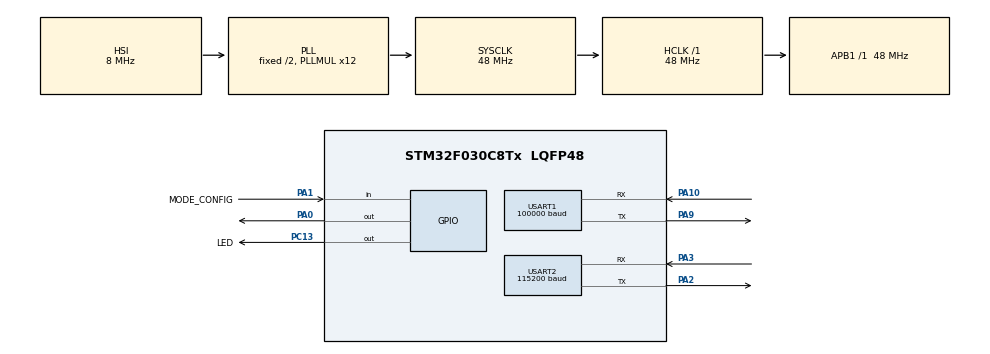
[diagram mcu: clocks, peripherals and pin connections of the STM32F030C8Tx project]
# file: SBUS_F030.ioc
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Dma.Request0=USART1_RX
Dma.Request1=USART1_TX
Dma.USART1_RX.0.Direction=DMA_PERIPH_TO_MEMORY
Dma.USART1_RX.0.Instance=DMA1_Channel5
Dma.USART1_RX.0.MemDataAlignment=DMA_MDATAALIGN_BYTE
Dma.USART1_RX.0.MemInc=DMA_MINC_ENABLE
Dma.USART1_RX.0.Mode=DMA_CIRCULAR
Dma.USART1_RX.0.PeriphDataAlignment=DMA_PDATAALIGN_BYTE
Dma.USART1_RX.0.PeriphInc=DMA_PINC_DISABLE
Dma.USART1_RX.0.Priority=DMA_PRIORITY_MEDIUM
Dma.USART1_TX.1.Direction=DMA_MEMORY_TO_PERIPH
Dma.USART1_TX.1.Instance=DMA1_Channel4
Dma.USART1_TX.1.MemDataAlignment=DMA_MDATAALIGN_BYTE
Dma.USART1_TX.1.MemInc=DMA_MINC_ENABLE
Dma.USART1_TX.1.Mode=DMA_NORMAL
Dma.USART1_TX.1.PeriphDataAlignment=DMA_PDATAALIGN_BYTE
Dma.USART1_TX.1.PeriphInc=DMA_PINC_DISABLE
Dma.USART1_TX.1.Priority=DMA_PRIORITY_MEDIUM
Mcu.Family=STM32F0
Mcu.Name=STM32F030C8Tx
Mcu.Package=LQFP48
NVIC.DMA1_Channel4_5_IRQn=true\:0\:0\:false\:false\:true\:false\:true
NVIC.TIM3_IRQn=true\:1\:0\:true\:false\:true\:true\:true
NVIC.USART1_IRQn=true\:0\:0\:false\:false\:true\:true\:true
NVIC.USART2_IRQn=true\:2\:0\:true\:false\:true\:true\:true
PA0.PinState=GPIO_PIN_SET
PA0.Signal=GPIO_Output
PA1.GPIO_Label=MODE_CONFIG
PA1.GPIO_PuPd=GPIO_PULLDOWN
PA1.Signal=GPIO_Input
PA10.Mode=Asynchronous
PA10.Signal=USART1_RX
PA13.Mode=Serial_Wire
PA13.Signal=SYS_SWDIO
PA14.Mode=Serial_Wire
PA14.Signal=SYS_SWCLK
PA2.Mode=Asynchronous
PA2.Signal=USART2_TX
PA3.Mode=Asynchronous
PA3.Signal=USART2_RX
PA9.Mode=Asynchronous
PA9.Signal=USART1_TX
PC13.GPIO_Label=LED
PC13.Signal=GPIO_Output
PC14-OSC32_IN.Mode=LSE-External-Oscillator
PC14-OSC32_IN.Signal=RCC_OSC32_IN
PC15-OSC32_OUT.Mode=LSE-External-Oscillator
PC15-OSC32_OUT.Signal=RCC_OSC32_OUT
PF0-OSC_IN.Mode=HSE-External-Oscillator
PF0-OSC_IN.Signal=RCC_OSC_IN
PF1-OSC_OUT.Mode=HSE-External-Oscillator
PF1-OSC_OUT.Signal=RCC_OSC_OUT
ProjectManager.HeapSize=0x200
ProjectManager.StackSize=0x400
ProjectManager.TargetToolchain=MDK-ARM V5
RCC.AHBFreq_Value=48000000
RCC.APB1Freq_Value=48000000
RCC.APB1TimFreq_Value=48000000
RCC.HCLKFreq_Value=48000000
RCC.PLLMUL=RCC_PLL_MUL12
RCC.SYSCLKFreq_VALUE=48000000
RCC.SYSCLKSource=RCC_SYSCLKSOURCE_PLLCLK
TIM3.AutoReloadPreload=TIM_AUTORELOAD_PRELOAD_ENABLE
TIM3.Period=40-1
TIM3.Prescaler=24000-1
USART1.BaudRate=100000
USART1.Parity=PARITY_EVEN
USART1.RxPinLevelInvertParam=ADVFEATURE_RXINV_ENABLE
USART1.StopBits=STOPBITS_2
USART1.TxPinLevelInvertParam=ADVFEATURE_TXINV_ENABLE
USART1.VirtualMode-Asynchronous=VM_ASYNC
USART1.WordLength=WORDLENGTH_9B
USART2.BaudRate=115200
USART2.VirtualMode-Asynchronous=VM_ASYNC
VP_TIM3_VS_ClockSourceINT.Mode=Internal
board=custom

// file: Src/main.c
/* USER CODE BEGIN Header */
/**
  ******************************************************************************
  * @file           : main.c
  * @brief          : Main program body
  ******************************************************************************
  * @attention
  *
  * <h2><center>&copy; Copyright (c) 2022 STMicroelectronics.
  * All rights reserved.</center></h2>
  *
  * This software component is licensed by ST under BSD 3-Clause license,
  * the "License"; You may not use this file except in compliance with the
  * License. You may obtain a copy of the License at:
  *                        opensource.org/licenses/BSD-3-Clause
  *
  ******************************************************************************
  */
/* USER CODE END Header */

#include "main.h"
#include "dma.h"
#include "tim.h"
#include "usart.h"
#include "gpio.h"

/* USER CODE BEGIN Includes */
#include <string.h>
/* USER CODE END Includes */

/* USER CODE BEGIN PTD */
#define START_CHAR (0xDF)
/* USER CODE END PTD */

/* USER CODE BEGIN PV */
uint8_t timer3_timeout = 0;

//0:0xdf  1:CH1_H 2:CH1_L 3:CH2_H 4:CH2_L 5:CH3_H 6:CH3_L
//7:CH4_H 8:CH4_L 9:CH5_H 10:CH5_L 11:CH6_H 12:CH6_L
uint8_t uart2_recv_buff[UART2_RECV_BUFF_LEN];

uint8_t dataH[16],dataL[16];

//UART1 透传变量
extern volatile uint8_t uart1_loopback_rx_len;  //接收一帧数据的长度
extern volatile uint8_t uart1_loopback_recv_end_flag; //一帧数据接收完成标志
uint8_t uart1_loopback_buff[UART1_BUFF_LOOPBACK_LEN];
/* USER CODE END PV */

void SystemClock_Config(void);
/* USER CODE BEGIN PFP */
void SBUS_SendPkg(uint8_t *dataH, uint8_t* dataL);
void UART1_Snd_Uint8(uint8_t data);
/* USER CODE END PFP */

/* USER CODE BEGIN 0 */

void UART1_Snd_Uint8(uint8_t data)
{
	HAL_UART_Transmit(&huart1,&data,1,1000);
	while(__HAL_UART_GET_FLAG(&huart1,UART_FLAG_TC)!=SET);
}

void SBUS_SendPkg(uint8_t *dataH, uint8_t* dataL)
{
	int i,j=0;
	uint8_t snd;
	uint16_t cur_channel;
	int channel_counter = 0;

	UART1_Snd_Uint8(0x0F);

	cur_channel = (dataH[channel_counter]<<8) | dataL[channel_counter];
	do {
		snd = 0;
		for (i = 0; i < 8; i++) {
			snd >>= 1;
			snd |= (cur_channel & 0x01) << 7;
			cur_channel >>= 1;
			j++;
			if (j == 11) {
				j = 0;
				channel_counter++;
				cur_channel = (dataH[channel_counter]<<8) | dataL[channel_counter];
			}
		}
		UART1_Snd_Uint8(snd);

	} while (channel_counter<16);

	UART1_Snd_Uint8(0x00);
	UART1_Snd_Uint8(0x00);
}

//Put the start Byte at the start of the pbuf
int FormatFrame(uint8_t *pbuf)
{
	int16_t i,start_at;
	uint8_t swapBuf[UART2_RECV_BUFF_LEN];
	start_at = -1;
	for(i=0;i<UART2_RECV_BUFF_LEN;i++)
	{
		if(pbuf[i]==START_CHAR)
		{
			start_at = i;
			break;
		}
	}
	if(start_at == -1)
	{
		return -1;	//Not Found
	}
	for(i=0;i<start_at;i++)
	{
		swapBuf[UART2_RECV_BUFF_LEN-start_at+i]=pbuf[i];
	}
	for(i=start_at;i<UART2_RECV_BUFF_LEN;i++)
	{
		pbuf[i-start_at]=pbuf[i];
	}
	for(i=UART2_RECV_BUFF_LEN-start_at;i<UART2_RECV_BUFF_LEN;i++)
	{
		pbuf[i]=swapBuf[i];
	}
	return 0;
}
/* USER CODE END 0 */

int main(void)
{
  /* USER CODE BEGIN 1 */
	//char uart2_snd_buff[30];
	uint8_t uart2_recv_buff_mirror[UART2_RECV_BUFF_LEN];
	//uint8_t uart2_err_cnt=0;
	uint16_t i;
	uint8_t checksum=0;
  /* USER CODE END 1 */

  /* MCU Configuration--------------------------------------------------------*/

  /* Reset of all peripherals, Initializes the Flash interface and the Systick. */
  HAL_Init();

  /* Configure the system clock */
  SystemClock_Config();

  /* Initialize all configured peripherals */
  MX_GPIO_Init();
  MX_DMA_Init();
  MX_TIM3_Init();
  MX_USART1_UART_Init();
  MX_USART2_UART_Init();
  /* USER CODE BEGIN 2 */

	//配置为SBUS透传模式
	if(GPIO_PIN_SET==HAL_GPIO_ReadPin(MODE_CONFIG_GPIO_Port,MODE_CONFIG_Pin))
	{
		__HAL_UART_ENABLE_IT(&huart1, UART_IT_IDLE); //使能IDLE中断
		//DMA接收函数，此句一定要加，不加接收不到第一次传进来的实数据，是空的，且此时接收到的数据长度为缓存器的数据长度
		HAL_UART_Receive_DMA(&huart1,uart1_loopback_buff,UART1_BUFF_LOOPBACK_LEN);

		while(1)
		{
			HAL_GPIO_TogglePin(LED_GPIO_Port,LED_Pin);
			if(uart1_loopback_recv_end_flag == 1)
			{
				HAL_UART_Transmit_DMA(&huart1, uart1_loopback_buff, uart1_loopback_rx_len);
				uart1_loopback_rx_len = 0;
				uart1_loopback_recv_end_flag = 0;
				memset(uart1_loopback_buff, 0 ,uart1_loopback_rx_len);
				HAL_UART_Receive_DMA(&huart1, uart1_loopback_buff, UART1_BUFF_LOOPBACK_LEN);
			}
		}
	}

	HAL_TIM_Base_Start_IT(&htim3);
	HAL_UART_Receive_IT(&huart2,(uint8_t*)uart2_recv_buff,UART2_RECV_BUFF_LEN);
  /* USER CODE END 2 */

  /* Infinite loop */
  /* USER CODE BEGIN WHILE */
while (1)
  {
		if(timer3_timeout == 1)
		{
			//HAL_UART_Transmit(&huart2,uart2_snd_buff,sizeof(uart2_snd_buff),1000);
			//while(__HAL_UART_GET_FLAG(&huart2,UART_FLAG_TC)!=SET);
			//memcpy(uart2_recv_buff_mirror,uart2_recv_buff,UART2_RECV_BUFF_LEN);
			for(i=0;i<UART2_RECV_BUFF_LEN;i++)
			{
				uart2_recv_buff_mirror[i]=uart2_recv_buff[i];
			}
			int rtn = FormatFrame(uart2_recv_buff_mirror);
			if(uart2_recv_buff_mirror[0]==0xdf && rtn!=-1)
			{
				//校验和
				checksum=0;
				for(i=0;i<UART2_RECV_BUFF_LEN-1;i++)
				{
					checksum+=uart2_recv_buff_mirror[i];
				}
				if(checksum!=uart2_recv_buff_mirror[UART2_RECV_BUFF_LEN-1])
				{
					//sprintf(uart2_snd_buff,"Uart2 Err Cnt: %d\n",uart2_err_cnt);
					//HAL_UART_Transmit(&huart2,(uint8_t*)uart2_err_cnt,1,1000);
					//continue;
				}

				//0:0xdf  1:CH1_H 2:CH1_L 3:CH2_H 4:CH2_L 5:CH3_H 6:CH3_L
				//7:CH4_H 8:CH4_L 9:CH5_H 10:CH5_L 11:CH6_H 12:CH6_L
				dataH[0] = uart2_recv_buff_mirror[1];
				dataL[0] = uart2_recv_buff_mirror[2];

				dataH[1] = uart2_recv_buff_mirror[3];
				dataL[1] = uart2_recv_buff_mirror[4];

				dataH[2] = uart2_recv_buff_mirror[5];
				dataL[2] = uart2_recv_buff_mirror[6];

				dataH[3] = uart2_recv_buff_mirror[7];
				dataL[3] = uart2_recv_buff_mirror[8];

				dataH[4] = uart2_recv_buff_mirror[9];
				dataL[4] = uart2_recv_buff_mirror[10];

				dataH[5] = uart2_recv_buff_mirror[11];
				dataL[5] = uart2_recv_buff_mirror[12];

				dataH[6] = uart2_recv_buff_mirror[13];
				dataL[6] = uart2_recv_buff_mirror[14];
			}
			SBUS_SendPkg(dataH,dataL);
			HAL_GPIO_TogglePin(LED_GPIO_Port,LED_Pin);
			timer3_timeout = 0;
		}

    /* USER CODE END WHILE */

  }
}

void SystemClock_Config(void)
{
  RCC_OscInitTypeDef RCC_OscInitStruct = {0};
  RCC_ClkInitTypeDef RCC_ClkInitStruct = {0};
  RCC_PeriphCLKInitTypeDef PeriphClkInit = {0};

  /** Initializes the CPU, AHB and APB busses clocks
  */
  RCC_OscInitStruct.OscillatorType = RCC_OSCILLATORTYPE_HSI;
  RCC_OscInitStruct.HSIState = RCC_HSI_ON;
  RCC_OscInitStruct.HSICalibrationValue = RCC_HSICALIBRATION_DEFAULT;
  RCC_OscInitStruct.PLL.PLLState = RCC_PLL_ON;
  RCC_OscInitStruct.PLL.PLLSource = RCC_PLLSOURCE_HSI;
  RCC_OscInitStruct.PLL.PLLMUL = RCC_PLL_MUL12;
  RCC_OscInitStruct.PLL.PREDIV = RCC_PREDIV_DIV1;
  if (HAL_RCC_OscConfig(&RCC_OscInitStruct) != HAL_OK)
  {
    Error_Handler();
  }
  /** Initializes the CPU, AHB and APB busses clocks
  */
  RCC_ClkInitStruct.ClockType = RCC_CLOCKTYPE_HCLK|RCC_CLOCKTYPE_SYSCLK
                              |RCC_CLOCKTYPE_PCLK1;
  RCC_ClkInitStruct.SYSCLKSource = RCC_SYSCLKSOURCE_PLLCLK;
  RCC_ClkInitStruct.AHBCLKDivider = RCC_SYSCLK_DIV1;
  RCC_ClkInitStruct.APB1CLKDivider = RCC_HCLK_DIV1;

  if (HAL_RCC_ClockConfig(&RCC_ClkInitStruct, FLASH_LATENCY_1) != HAL_OK)
  {
    Error_Handler();
  }
  PeriphClkInit.PeriphClockSelection = RCC_PERIPHCLK_USART1;
  PeriphClkInit.Usart1ClockSelection = RCC_USART1CLKSOURCE_PCLK1;
  if (HAL_RCCEx_PeriphCLKConfig(&PeriphClkInit) != HAL_OK)
  {
    Error_Handler();
  }
}

void Error_Handler(void)
{
}

/************************ (C) COPYRIGHT STMicroelectronics *****END OF FILE****/
